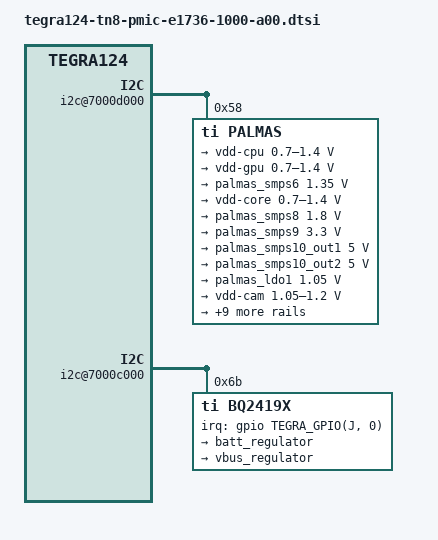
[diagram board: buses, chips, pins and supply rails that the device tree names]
/*
 * arch/arm/boot/dts/tegra124-platforms/tegra124-tn8-e1736-pmic.dtsi
 *
 * Copyright (c) 2014, NVIDIA CORPORATION.  All rights reserved.
 *
 * This program is free software; you can redistribute it and/or modify
 * it under the terms of the GNU General Public License as published by
 * the Free Software Foundation; either version 2 of the License, or
 * (at your option) any later version.
 *
 * This program is distributed in the hope that it will be useful, but WITHOUT
 * ANY WARRANTY; without even the implied warranty of MERCHANTABILITY or
 * FITNESS FOR A PARTICULAR PURPOSE.  See the GNU General Public License for
 * more details.
 *
 * You should have received a copy of the GNU General Public License along
 * with this program; if not, write to the Free Software Foundation, Inc.,
 * 51 Franklin Street, Fifth Floor, Boston, MA  02110-1301, USA.
 */

 #include <dt-bindings/gpio/tegra-gpio.h>

/ {
	i2c@7000d000 {
		palmas: tps65913 {
			compatible = "ti,palmas";
			reg = <0x58>;
			interrupts = <0 86 0>;

			#interrupt-cells = <2>;
			interrupt-controller;

			palmas_gpio: gpio {
				compatible = "ti,palmas-gpio";
				gpio-controller;
				#gpio-cells = <2>;
			};

			rtc {
				compatible = "ti,palmas-rtc";
				interrupt-parent = <&palmas>;
				interrupts = <8 0>;
			};

			pinmux {
				compatible = "ti,tps65913-pinctrl";
				pinctrl-names = "default";
				pinctrl-0 = <&palmas_default>;

				palmas_default: pinmux {
					powergood {
						pins = "powergood";
						function = "powergood";
					};

					vac {
						pins = "vac";
						function = "vac";
					};

					pin_gpio0 {
						pins = "gpio0";
						function = "id";
						bias-pull-up;
					};

					pin_gpio1 {
						pins = "gpio1";
						function = "vbus_det";
					};

					pin_gpio6 {
						pins = "gpio2", "gpio3", "gpio4", "gpio6", "gpio7";
						function = "gpio";
					};

					pin_gpio5 {
						pins = "gpio5";
						function = "clk32kgaudio";
					};
				};
			};

			extcon {
				compatible = "ti,palmas-usb";
				extcon-name = "palmas-extcon";
				ti,wakeup;
				ti,enable-id-detection;
				ti,enable-vbus-detection;
			};

			power_pm {
				compatible = "ti,palmas-pm";
				system-pmic-power-off;
				system-pmic-power-reset;
			};

			gpadc {
				compatible = "ti,palmas-gpadc";
				interrupt-parent = <&palmas>;
				interrupts = <18 0
					      16 0
					      17 0>;
				iio_map {
					ch1 {
						ti,adc-channel-number = <1>;
						ti,adc-consumer-device = "generic-adc-thermal.0";
						ti,adc-consumer-channel ="battery-temp-channel";
					};

					ch6 {
						ti,adc-channel-number = <6>;
						ti,adc-consumer-device = "palmas-battery";
						ti,adc-consumer-channel ="vbat_channel";
					};
				};
			};

			clock {
				compatible = "ti,palmas-clk";

				clk32k_kg {
					ti,clock-boot-enable;
				};

				clk32k_kg_audio {
					ti,clock-boot-enable;
				};
			};

			pmic {
				compatible = "ti,tps65913-pmic", "ti,palmas-pmic";
				ldo1-in-supply = <&palmas_smps6>;
				ldo2-in-supply = <&palmas_smps6>;
				ldo5-in-supply = <&palmas_smps8>;
				ldo6-in-supply = <&palmas_smps9>;
				ldo7-in-supply = <&palmas_smps9>;
				ldo9-in-supply = <&palmas_smps9>;
				ldoln-in-supply = <&palmas_smps10_out2>;
				smps10-out2-supply = <&palmas_smps10_out2>;

				regulators {
					smps123 {
						regulator-name = "vdd-cpu";
						regulator-min-microvolt = <700000>;
						regulator-max-microvolt = <1400000>;
						regulator-always-on;
						regulator-boot-on;
						ti,roof-floor = <1>;
						ti,config-flags = <8>;

						consumers {
							c1 {
								regulator-consumer-supply = "vdd_cpu";
							};
						};
					};

					smps45 {
						regulator-name = "vdd-gpu";
						regulator-min-microvolt = <700000>;
						regulator-max-microvolt = <1400000>;
						regulator-init-microvolt = <1000000>;
						regulator-boot-on;

						consumers {
							c1 {
								regulator-consumer-supply = "vdd_gpu";
							};
						};
					};

					palmas_smps6: smps6 {
						regulator-name = "vddio-ddr";
						regulator-min-microvolt = <1350000>;
						regulator-max-microvolt = <1350000>;
						regulator-always-on;
						regulator-boot-on;

						consumers {
							c1 {
								regulator-consumer-supply = "vddio_ddr";
							};
							c2 {
								regulator-consumer-supply = "vddio_ddr_mclk";
							};
							c3 {
								regulator-consumer-supply = "vddio_ddr3";
							};
							c4 {
								regulator-consumer-supply = "vcore1_ddr3";
							};
						};
					};

					smps7 {
						regulator-name = "vdd-core";
						regulator-min-microvolt = <700000>;
						regulator-max-microvolt = <1400000>;
						regulator-always-on;
						regulator-boot-on;
						ti,roof-floor = <3>;
						consumers {
							c1 {
								regulator-consumer-supply = "vdd_core";
							};
						};
					};

					palmas_smps8: smps8 {
						regulator-name = "vdd-1v8";
						regulator-min-microvolt = <1800000>;
						regulator-max-microvolt = <1800000>;
						regulator-always-on;
						regulator-boot-on;

						consumers {
							c1 {
								regulator-consumer-supply = "dbvdd";
								regulator-consumer-device = "tegra-snd-rt5639.0";
							};
							c2 {
								regulator-consumer-supply = "dbvdd";
								regulator-consumer-device = "tegra-snd-rt5645.0";
							};
							c3 {
								regulator-consumer-supply = "avdd";
								regulator-consumer-device = "tegra-snd-rt5639.0";
							};
							c4 {
								regulator-consumer-supply = "avdd";
								regulator-consumer-device = "tegra-snd-rt5645.0";
							};
							c5 {
								regulator-consumer-supply = "dmicvdd";
								regulator-consumer-device = "tegra-snd-rt5639.0";
							};
							c6 {
								regulator-consumer-supply = "dmicvdd";
								regulator-consumer-device = "tegra-snd-rt5645.0";
							};
							c7 {
								regulator-consumer-supply = "avdd_osc";
							};
							c8 {
								regulator-consumer-supply = "vddio_sys";
							};
							c9 {
								regulator-consumer-supply = "vddio_sys_2";
							};
							c10 {
								regulator-consumer-supply = "pwrdet_nand";
							};
							c11 {
								regulator-consumer-supply = "vddio_sdmmc";
								regulator-consumer-device = "sdhci-tegra.0";
							};
							c12 {
								regulator-consumer-supply = "pwrdet_sdmmc1";
							};
							c13 {
								regulator-consumer-supply = "vddio_sdmmc";
								regulator-consumer-device = "sdhci-tegra.3";
							};
							c14 {
								regulator-consumer-supply = "pwrdet_sdmmc4";
							};
							c15 {
								regulator-consumer-supply = "avdd_pll_utmip";
								regulator-consumer-device = "tegra-udc.0";
							};
							c16 {
								regulator-consumer-supply = "avdd_pll_utmip";
								regulator-consumer-device = "tegra-ehci.0";
							};
							c17 {
								regulator-consumer-supply = "avdd_pll_utmip";
								regulator-consumer-device = "tegra-ehci.1";
							};
							c18 {
								regulator-consumer-supply = "avdd_pll_utmip";
								regulator-consumer-device = "tegra-ehci.2";
							};
							c19 {
								regulator-consumer-supply = "avdd_pll_utmip";
								regulator-consumer-device = "tegra-xhci";
							};
							c20 {
								regulator-consumer-supply = "vddio_audio";
							};
							c21 {
								regulator-consumer-supply = "pwrdet_audio";
							};
							c22 {
								regulator-consumer-supply = "vddio_uart";
							};
							c23 {
								regulator-consumer-supply = "pwrdet_uart";
							};
							c24 {
								regulator-consumer-supply = "vddio_bb";
							};
							c25 {
								regulator-consumer-supply = "pwrdet_bb";
							};
							c26 {
								regulator-consumer-supply = "vdd_dtv";
							};
							c27 {
								regulator-consumer-supply = "vdd_1v8_eeprom";
							};
							c28 {
								regulator-consumer-supply = "vddio_cam";
								regulator-consumer-device = "tegra_camera";
							};
							c29 {
								regulator-consumer-supply = "vddio_cam";
								regulator-consumer-device = "vi";
							};
							c30 {
								regulator-consumer-supply = "pwrdet_cam";
							};
							c31 {
								regulator-consumer-supply = "dvdd";
								regulator-consumer-device = "spi0.0";
							};
							c34 {
								regulator-consumer-supply = "vddio";
								regulator-consumer-device = "0-0077";
							};
							c35 {
								regulator-consumer-supply = "dvdd_lcd";
							};
							c36 {
								regulator-consumer-supply = "vdd_lcd_1v8_s";
							};
						};
					};

					palmas_smps9: smps9 {
						regulator-name = "vdd-snsr";
						regulator-min-microvolt = <3300000>;
						regulator-max-microvolt = <3300000>;

						consumers {
							c1 {
								regulator-consumer-supply = "vdd_snsr";
							};
							c2 {
								regulator-consumer-supply = "vddio_sd_slot";
								regulator-consumer-device = "sdhci-tegra.3";
							};
							c3 {
								regulator-consumer-supply = "vddio_sd_slot";
								regulator-consumer-device = "sdhci-tegra.2";
							};
							c4 {
								regulator-consumer-supply = "vdd_3v3_gps";
							};
							c5 {
								regulator-consumer-supply = "vdd_3v3_nfc";
							};
							c8 {
								regulator-consumer-supply = "vdd";
								regulator-consumer-device = "0-0077";
							};
							c9 {
								regulator-consumer-supply = "vdd";
								regulator-consumer-device = "1-004c";
							};
							c10 {
								regulator-consumer-supply = "vdd";
								regulator-consumer-device = "1-004d";
							};
						};
					};

					palmas_smps10_out1: smps10_out1 {
						regulator-name = "vdd-out1-5v0";
						regulator-min-microvolt = <5000000>;
						regulator-max-microvolt = <5000000>;
					};

					palmas_smps10_out2: smps10_out2 {
						regulator-name = "vdd-out2-5v0";
						regulator-min-microvolt = <5000000>;
						regulator-max-microvolt = <5000000>;
						consumers {
							c1 {
								regulator-consumer-supply = "vdd_5v0_mdm";
							};
							c2 {
								regulator-consumer-supply = "vdd_5v0_snsr";
							};
							c3 {
								regulator-consumer-supply = "vdd_5v0_dis";
							};
							c4 {
								regulator-consumer-supply = "spkvdd";
								regulator-consumer-device = "tegra-snd-rt5639.0";
							};
							c5 {
								regulator-consumer-supply = "spkvdd";
								regulator-consumer-device = "tegra-snd-rt5645.0";
							};
							c6 {
								regulator-consumer-supply = "avddio_pex";
								regulator-consumer-device = "tegra-pcie";
							};
							c7 {
								regulator-consumer-supply = "dvddio_pex";
								regulator-consumer-device = "tegra-pcie";
							};
							c8 {
								regulator-consumer-supply = "avddio_usb";
								regulator-consumer-device = "tegra-xhci";
							};

						};
					};

					palmas_ldo1: ldo1 {
						regulator-name = "avdd-pll";
						regulator-min-microvolt = <1050000>;
						regulator-max-microvolt = <1050000>;
						regulator-always-on;
						regulator-boot-on;
						ti,roof-floor = <3>;

						consumers {
							c1 {
								regulator-consumer-supply = "avdd_pll_m";
							};
							c2 {
								regulator-consumer-supply = "avdd_pll_ap_c2_c3";
							};
							c3 {
								regulator-consumer-supply = "avdd_pll_cud2dpd";
							};
							c4 {
								regulator-consumer-supply = "avdd_pll_c4";
							};
							c5 {
								regulator-consumer-supply = "avdd_lvds0_io";
							};
							c6 {
								regulator-consumer-supply = "vddio_ddr_hs";
							};
							c7 {
								regulator-consumer-supply = "avdd_pll_erefe";
							};
							c8 {
								regulator-consumer-supply = "avdd_pll_x";
							};
							c9 {
								regulator-consumer-supply = "avdd_pll_cg";
							};
							c10 {
								regulator-consumer-supply = "avdd_pex_pll";
								regulator-consumer-device = "tegra-pcie";
							};
							c11 {
								regulator-consumer-supply = "avdd_hdmi_pll";
								regulator-consumer-device = "tegradc.1";
							};

						};
					};

					ldo2 {
						regulator-name = "vdd-cam";
						regulator-min-microvolt = <1050000>;
						regulator-max-microvolt = <1200000>;

						consumers {
							c1 {
								regulator-consumer-supply = "vdd_cam_1v1_cam";
							};
							c2 {
								regulator-consumer-supply = "imx135_reg2";
							};
							c3 {
								regulator-consumer-supply = "vdd_1v2_cam";
							};
							c4 {
								regulator-consumer-supply = "vdig";
								regulator-consumer-device = "2-0010";

							};
							c5 {
								regulator-consumer-supply = "dvdd";
								regulator-consumer-device = "2-0010";
							};
							c6 {
								regulator-consumer-supply = "vdig";
								regulator-consumer-device = "2-0036";
							};
							c7 {
								regulator-consumer-supply = "vdig_lv";
								regulator-consumer-device = "2-0010";
							};

						};
					};

					ldo3 {
						regulator-name = "vdd-touch";
						regulator-min-microvolt = <3300000>;
						regulator-max-microvolt = <3300000>;

						consumers {
							c1 {
								regulator-consumer-supply = "avdd";
								regulator-consumer-device = "spi0.0";
							};

						};
					};

					ldo4 {
						regulator-name = "avdd-cam";
						regulator-min-microvolt = <2700000>;
						regulator-max-microvolt = <2700000>;

						consumers {
							c1 {
								regulator-consumer-supply = "vdd_2v7_hv";
							};
							c2 {
								regulator-consumer-supply = "avdd_cam1_cam";
							};
							c3 {
								regulator-consumer-supply = "avdd_cam2_cam";
							};
							c4 {
								regulator-consumer-supply = "avdd_cam3_cam";
							};
							c5 {
								regulator-consumer-supply = "vana";
								regulator-consumer-device = "2-0010";
							};
							c6 {
								regulator-consumer-supply = "avdd";
								regulator-consumer-device = "2-0010";
							};
							c7 {
								regulator-consumer-supply = "avdd_ov5693";
								regulator-consumer-device = "2-0010";
							};
						};
					};

					ldo5 {
						regulator-name = "avdd-dsi-csi";
						regulator-min-microvolt = <1200000>;
						regulator-max-microvolt = <1200000>;

						consumers {
							c1 {
								regulator-consumer-supply = "vddio_hsic";
								regulator-consumer-device = "tegra-ehci.1";
							};
							c2 {
								regulator-consumer-supply = "vddio_hsic";
								regulator-consumer-device = "tegra-ehci.2";
							};
							c3 {
								regulator-consumer-supply = "vddio_hsic";
								regulator-consumer-device = "tegra-xhci";
							};
							c4 {
								regulator-consumer-supply = "avdd_dsi_csi";
								regulator-consumer-device = "tegradc.0";

							};
							c5 {
								regulator-consumer-supply = "avdd_dsi_csi";
								regulator-consumer-device = "tegradc.1";
							};
							c6 {
								regulator-consumer-supply = "avdd_dsi_csi";
								regulator-consumer-device = "vi.0";
							};
							c7 {
								regulator-consumer-supply = "avdd_dsi_csi";
								regulator-consumer-device = "vi.1";
							};
							c8 {
								regulator-consumer-supply = "pwrdet_mipi";
							};
							c9 {
								regulator-consumer-supply = "avdd_hsic_com";
							};
							c10 {
								regulator-consumer-supply = "avdd_hsic_mdm";

							};
							c11 {
								regulator-consumer-supply = "vdd_lcd_bl";
							};

						};
					};

					ldo6 {
						regulator-name = "vdd-cam-af";
						regulator-min-microvolt = <1800000>;
						regulator-max-microvolt = <1800000>;

						consumers {
							c1 {
								regulator-consumer-supply = "vdd_cam1_1v8_cam";
							};
							c2 {
								regulator-consumer-supply = "vdd_cam2_1v8_cam";
							};
							c3 {
								regulator-consumer-supply = "vif";
								regulator-consumer-device = "2-0010";
							};
							c4 {
								regulator-consumer-supply = "dovdd";
								regulator-consumer-device = "2-0010";

							};
							c5 {
								regulator-consumer-supply = "vif2";
								regulator-consumer-device = "2-0021";
							};
							c6 {
								regulator-consumer-supply = "vif";
								regulator-consumer-device = "2-0036";
							};
							c7 {
								regulator-consumer-supply = "vdd_i2c";
								regulator-consumer-device = "2-000c";

							};
							c8 {
								regulator-consumer-supply = "vi2c";
								regulator-consumer-device = "2-0030";
							};
							c9 {
								regulator-consumer-supply = "vdd";
								regulator-consumer-device = "2-004a";
							};
							c10 {
								regulator-consumer-supply = "vif";
								regulator-consumer-device = "2-0048";
							};
						};
					};

					ldo7 {
						regulator-name = "avdd-cam-af";
						regulator-min-microvolt = <2700000>;
						regulator-max-microvolt = <2700000>;

						consumers {
							c1 {
								regulator-consumer-supply = "avdd_af1_cam";
							};
							c2 {
								regulator-consumer-supply = "imx135_reg1";
							};
							c3 {
								regulator-consumer-supply = "vana";
								regulator-consumer-device = "2-0021";
							};
							c4 {
								regulator-consumer-supply = "vdd";
								regulator-consumer-device = "2-000c";
							};
							c5 {
								regulator-consumer-supply = "vdd_af1";
								regulator-consumer-device = "2-0010";
							};
							c6 {
								regulator-consumer-supply = "vin";
								regulator-consumer-device = "2-0030";
							};
							c7 {
								regulator-consumer-supply = "vin";
								regulator-consumer-device = "2-004a";
							};
							c8 {
								regulator-consumer-supply = "vana";
								regulator-consumer-device = "2-0036";
							};
							c9 {
								regulator-consumer-supply = "vana";
								regulator-consumer-device = "2-0048";
							};
						};
					};

					ldo8 {
						regulator-name = "vdd-rtc";
						regulator-min-microvolt = <900000>;
						regulator-max-microvolt = <900000>;
						regulator-always-on;
						regulator-boot-on;

						consumers {
							c1 {
								regulator-consumer-supply = "vdd_rtc";
							};
						};
					};

					ldo9 {
						regulator-name = "vddio-sdmmc-2";
						regulator-min-microvolt = <1800000>;
						regulator-max-microvolt = <3300000>;

						consumers {
							c1 {
								regulator-consumer-supply = "vddio_sdmmc";
								regulator-consumer-device = "sdhci-tegra.2";
							};
							c2 {
								regulator-consumer-supply = "pwrdet_sdmmc3";
							};
						};
					};

					palmas_ldoln: ldoln {
						regulator-name = "vddio-hv";
						regulator-min-microvolt = <3300000>;
						regulator-max-microvolt = <3300000>;
						regulator-always-on;
						regulator-boot-on;

						consumers {
							c1 {
								regulator-consumer-supply = "vddio_hv";
								regulator-consumer-device = "tegradc.1";
							};
							c2 {
								regulator-consumer-supply = "avdd_hdmi";
								regulator-consumer-device = "tegradc.1";

							};
							c3 {
								regulator-consumer-supply = "pwrdet_hv";
							};
							c4 {
								regulator-consumer-supply = "vddio_pex_ctl";
								regulator-consumer-device = "tegra-pcie";
							};
						};
					};

					ldousb {
						regulator-name = "avdd-usb";
						regulator-min-microvolt = <3300000>;
						regulator-max-microvolt = <3300000>;
						regulator-always-on;
						regulator-boot-on;

						consumers {
							c1 {
								regulator-consumer-supply = "pwrdet_pex_ctl";
							};
							c2 {
								regulator-consumer-supply = "avdd_usb";
								regulator-consumer-device = "tegra-udc.0";

							};
							c3 {
								regulator-consumer-supply = "avdd_usb";
								regulator-consumer-device = "tegra-ehci.0";
							};
							c4 {
								regulator-consumer-supply = "avdd_usb";
								regulator-consumer-device = "tegra-ehci.1";
							};
							c5 {
								regulator-consumer-supply = "avdd_usb";
								regulator-consumer-device = "tegra-ehci.2";
							};
							c6 {
								regulator-consumer-supply = "hvdd_usb";
								regulator-consumer-device = "tegra-xhci";

							};
							c7 {
								regulator-consumer-supply = "hvdd_pex";
								regulator-consumer-device = "tegra-pcie";
							};
							c8 {
								regulator-consumer-supply = "hvdd_pex_pll_e";
								regulator-consumer-device = "tegra-pcie";
							};

						};
					};
				};
			};
		};
	};

	i2c@7000c000 {

		max17048@36 {
			compatible = "maxim,max17048";
			reg = <0x36>;
			status = "disabled";
			interrupt-parent = <&gpio>;
			interrupts = <TEGRA_GPIO(Q, 5) 0x0>;        /* gpio PQ5 */
			tz-name = "battery-temp";
			alert-threshold = <0>;          /* 1% SOC */
			one-percent-alerts = <1>;
			valert-max = <5100>;            /* not use */
			valert-min = <3500>;            /* 3.50V */
			vreset-threshold = <2400>;
			vreset-disable = <1>;           /* not use */
			hib-threshold = <48>;           /* 9.984%/hr */
			hib-active-threshold = <128>;   /* 160mV */
			bits = <18>;
			rcomp = <57>;
			rcomp-seg = <0x0200>;
			soccheck-a = <119>;
			soccheck-b = <121>;
			ocvtest = <55952>;
			data-tbl = <0x98 0x80 0xB3 0x50 0xB7 0x90 0xB9 0x00
				0xBA 0x70 0xBC 0x10 0xBC 0x50 0xBC 0xA0
				0xBD 0x20 0xBE 0x30 0xBF 0x40 0xC2 0xF0
				0xC4 0x20 0xC7 0xE0 0xCB 0xF0 0xD0 0x90
				0x00 0x40 0x06 0x70 0x0E 0x50 0x12 0x00
				0x18 0xD0 0x33 0x10 0x31 0x40 0x35 0xD0
				0x18 0xD0 0x19 0x00 0x0B 0xF0 0x0C 0x10
				0x0D 0x10 0x07 0x90 0x08 0x00 0x08 0x00>;
		};

		bq2419x: bq2419x@6b {
			compatible = "ti,bq2419x";
			reg = <0x6b>;

			interrupt-parent = <&gpio>;
			interrupts = <TEGRA_GPIO(J, 0) 0x0>;

			charger {
				status = "disabled";
				regulator-name = "batt_regulator";
				regulator-max-microamp = <3000000>;
				ti,watchdog-timeout = <40>;
				ti,rtc-alarm-time = <3600>;
				ti,auto-recharge-time = <1800>;
				ti,disbale-suspend-during-charging;
				consumers {
					c1 {
						regulator-consumer-supply = "usb_bat_chg";
						regulator-consumer-device = "tegra-udc.0";
					};
				};
			};

			vbus {
				regulator-name = "vbus_regulator";
				ti,otg-iusb-gpio = <&gpio TEGRA_GPIO(I, 4) 0>;
				consumers {
					c1 {
						regulator-consumer-supply = "usb_vbus";
						regulator-consumer-device = "tegra-ehci.0";
					};

					c2 {
						regulator-consumer-supply = "usb_vbus";
						regulator-consumer-device = "tegra-otg";
					};
				};
			};
		};
	};
};
